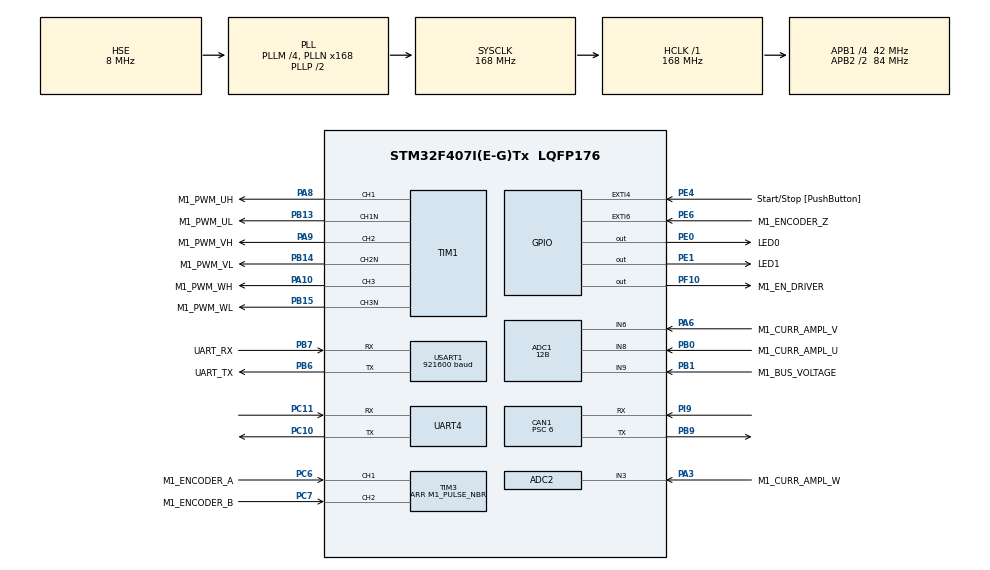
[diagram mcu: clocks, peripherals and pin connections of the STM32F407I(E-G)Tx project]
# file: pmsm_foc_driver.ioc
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ADC1.Channel-1\#ChannelInjectedConversion=ADC_CHANNEL_8
ADC1.Channel-1\#ChannelRegularConversion=ADC_CHANNEL_9
ADC1.Channel-2\#ChannelInjectedConversion=ADC_CHANNEL_6
ADC1.ClockPrescaler=ADC_CLOCK_SYNC_PCLK_DIV4
ADC1.ContinuousConvMode=DISABLE
ADC1.DMAContinuousRequests=DISABLE
ADC1.DataAlign=ADC_DATAALIGN_LEFT
ADC1.DiscontinuousConvMode=DISABLE
ADC1.EOCSelection=ADC_EOC_SINGLE_CONV
ADC1.EnableAnalogWatchDog=false
ADC1.EnableInjectedConversion=ENABLE
ADC1.EnableRegularConversion=ENABLE
ADC1.ExternalTrigConv=ADC_SOFTWARE_START
ADC1.ExternalTrigConvEdge=ADC_EXTERNALTRIGCONVEDGE_NONE
ADC1.ExternalTrigInjecConv=ADC_EXTERNALTRIGINJECCONV_T1_CC4
ADC1.ExternalTrigInjecConvEdge=ADC_EXTERNALTRIGINJECCONVEDGE_RISING
ADC1.InjNumberOfConversion=2
ADC1.InjectedConvMode=Discontinuous
ADC1.InjectedOffset-1\#ChannelInjectedConversion=0
ADC1.InjectedOffset-2\#ChannelInjectedConversion=0
ADC1.InjectedRank-1\#ChannelInjectedConversion=1
ADC1.InjectedRank-2\#ChannelInjectedConversion=2
ADC1.NbrOfConversion=1
ADC1.NbrOfConversionFlag=1
ADC1.Offset-1\#ChannelRegularConversion=0
ADC1.OffsetNumber-1\#ChannelRegularConversion=ADC_OFFSET_NONE
ADC1.Rank-1\#ChannelRegularConversion=1
ADC1.Resolution=ADC_RESOLUTION_12B
ADC1.SamplingTime-1\#ChannelInjectedConversion=ADC_SAMPLETIME_15CYCLES
ADC1.SamplingTime-1\#ChannelRegularConversion=ADC_SAMPLETIME_28CYCLES
ADC1.SamplingTime-2\#ChannelInjectedConversion=ADC_SAMPLETIME_15CYCLES
ADC1.ScanConvMode=ENABLE
ADC1.master=1
ADC2.Channel-1\#ChannelInjectedConversion=ADC_CHANNEL_6
ADC2.Channel-1\#ChannelRegularConversion=ADC_CHANNEL_6
ADC2.Channel-2\#ChannelInjectedConversion=ADC_CHANNEL_3
ADC2.ClockPrescaler=ADC_CLOCK_SYNC_PCLK_DIV4
ADC2.ContinuousConvMode=DISABLE
ADC2.DMAContinuousRequests=DISABLE
ADC2.DataAlign=ADC_DATAALIGN_LEFT
ADC2.DiscontinuousConvMode=DISABLE
ADC2.EOCSelection=ADC_EOC_SINGLE_CONV
ADC2.EnableAnalogWatchDog=false
ADC2.EnableInjectedConversion=ENABLE
ADC2.EnableRegularConversion=ENABLE
ADC2.ExternalTrigConv=ADC_SOFTWARE_START
ADC2.ExternalTrigConvEdge=ADC_EXTERNALTRIGCONVEDGE_NONE
ADC2.ExternalTrigInjecConv=ADC_EXTERNALTRIGINJECCONV_T1_CC4
ADC2.ExternalTrigInjecConvEdge=ADC_EXTERNALTRIGINJECCONVEDGE_RISING
ADC2.InjNumberOfConversion=2
ADC2.InjectedConvMode=Discontinuous
ADC2.InjectedOffset-1\#ChannelInjectedConversion=0
ADC2.InjectedOffset-2\#ChannelInjectedConversion=0
ADC2.InjectedRank-1\#ChannelInjectedConversion=1
ADC2.InjectedRank-2\#ChannelInjectedConversion=2
ADC2.NbrOfConversion=1
ADC2.NbrOfConversionFlag=1
ADC2.Rank-1\#ChannelRegularConversion=1
ADC2.Resolution=ADC_RESOLUTION_12B
ADC2.SamplingTime-1\#ChannelInjectedConversion=ADC_SAMPLETIME_15CYCLES
ADC2.SamplingTime-1\#ChannelRegularConversion=ADC_SAMPLETIME_15CYCLES
ADC2.SamplingTime-2\#ChannelInjectedConversion=ADC_SAMPLETIME_15CYCLES
ADC2.ScanConvMode=ENABLE
CAN1.ABOM=ENABLE
CAN1.BS1=CAN_BS1_7TQ
CAN1.BS2=CAN_BS2_6TQ
CAN1.CalculateBaudRate=500000
CAN1.CalculateTimeBit=2000
CAN1.CalculateTimeQuantum=142.85714285714286
CAN1.Prescaler=6
CAN1.RFLM=ENABLE
CAN1.TXFP=ENABLE
Dma.Request0=USART1_RX
Dma.Request1=USART1_TX
Dma.USART1_RX.0.Direction=DMA_PERIPH_TO_MEMORY
Dma.USART1_RX.0.FIFOMode=DMA_FIFOMODE_DISABLE
Dma.USART1_RX.0.Instance=DMA2_Stream2
Dma.USART1_RX.0.MemDataAlignment=DMA_MDATAALIGN_BYTE
Dma.USART1_RX.0.MemInc=DMA_MINC_ENABLE
Dma.USART1_RX.0.Mode=DMA_NORMAL
Dma.USART1_RX.0.PeriphDataAlignment=DMA_PDATAALIGN_BYTE
Dma.USART1_RX.0.PeriphInc=DMA_PINC_DISABLE
Dma.USART1_RX.0.Priority=DMA_PRIORITY_LOW
Dma.USART1_TX.1.Direction=DMA_MEMORY_TO_PERIPH
Dma.USART1_TX.1.FIFOMode=DMA_FIFOMODE_DISABLE
Dma.USART1_TX.1.Instance=DMA2_Stream7
Dma.USART1_TX.1.MemDataAlignment=DMA_MDATAALIGN_BYTE
Dma.USART1_TX.1.MemInc=DMA_MINC_ENABLE
Dma.USART1_TX.1.Mode=DMA_NORMAL
Dma.USART1_TX.1.PeriphDataAlignment=DMA_PDATAALIGN_BYTE
Dma.USART1_TX.1.PeriphInc=DMA_PINC_DISABLE
Dma.USART1_TX.1.Priority=DMA_PRIORITY_LOW
ExtraMW=MotorControl
ExtraMW.MotorControl.Config=MotorControl
ExtraMW.MotorControl.Mode=MotorControl
ExtraMW.MotorControl.Root=MCSDK_v6.4.2-Full/MotorControl
ExtraMW.MotorControl.Template=templates
Mcu.Family=STM32F4
Mcu.Name=STM32F407I(E-G)Tx
Mcu.Package=LQFP176
MotorControl.ADC_1_PERIPH=ADC1
MotorControl.ADC_2_PERIPH=ADC2
MotorControl.ADC_AHBPERIPH=RCC_AHBPeriph_ADC12
MotorControl.ADC_CLOCK_WB_DIV=1
MotorControl.ADC_PERIPH=ADC1
MotorControl.ADC_REFERENCE_VOLTAGE=3.3
MotorControl.BOARD=DMF407_M1
MotorControl.BUS_VOLTAGE_READING=true
MotorControl.CCMRAM_ENABLED=false
MotorControl.CLOCK_FREQUENCY=CPU_CLK_168_MHZ
MotorControl.CLOCK_SOURCE=EXTERNAL
MotorControl.CPU_CLK_168_MHZ=true
MotorControl.CTLBOARD_NAME=DMF407_M1
MotorControl.CUBE_MX_VER=6.17.0
MotorControl.CURRENT_READING_TOPOLOGY=THREE_SHUNT_INDEPENDENT_RESOURCES
MotorControl.CURR_SAMPLING_TIME=15
MotorControl.DBG_MCU_LOAD_MEASURE=false
MotorControl.DEBUG_DAC_FUNCTIONALITY_EN=false
MotorControl.DRIVES_NUMBER_SELECTION=SINGLEDRIVE
MotorControl.DRIVE_NUMBER=1
MotorControl.DRIVE_TYPE=FOC
MotorControl.ENCODER=true
MotorControl.ENCODER_AVAILABLE=true
MotorControl.ENCODER_PPR=2000
MotorControl.ENC_A_GPIO_PIN=LL_GPIO_PIN_6
MotorControl.ENC_A_GPIO_PORT=GPIOC
MotorControl.ENC_B_GPIO_PIN=LL_GPIO_PIN_7
MotorControl.ENC_B_GPIO_PORT=GPIOC
MotorControl.ENC_ICx_FILTER=126
MotorControl.ENC_INVERT_SPEED=false
MotorControl.ENC_TIMER_SELECTION=ENC_TIM3
MotorControl.ENC_USE_CH3=true
MotorControl.ENC_Z_GPIO_PIN=LL_GPIO_PIN_6
MotorControl.ENC_Z_GPIO_PORT=GPIOE
MotorControl.EN_DRIVER_AVAILABLE=true
MotorControl.EN_DRIVER_GPIO_PIN=LL_GPIO_PIN_10
MotorControl.EN_DRIVER_GPIO_PORT=GPIOF
MotorControl.EN_DRIVER_POLARITY=ACTIVE_HIGH
MotorControl.EXT_CLK_8_MHZ=true
MotorControl.EXT_CLOCK_FREQUENCY=EXT_CLK_8_MHZ
MotorControl.FEEDBACK_NET_FILTERING=false
MotorControl.FLASH_SIZE=1024
MotorControl.HALL_SENSORS_AVAILABLE=true
MotorControl.HIGH_SIDE_IDLE_STATE=false
MotorControl.HWV_CS=ThreeShunt_AmplifiedCurrents
MotorControl.HWV_PWM=DrivingHighAndLowSidesAndMasterEnable
MotorControl.HW_COMPLEMENTED_LOW_SIDE=false
MotorControl.HW_DEAD_TIME_NS=200
MotorControl.IPs=NVIC,RCC,SYS,MotorControl,ADC1,ADC2,TIM1,TIM3,USART1,DMA
MotorControl.LOW_MEMORY_FOOTPRINT_REG=false
MotorControl.LOW_SIDE_IDLE_STATE=false
MotorControl.LOW_SIDE_SIGNALS_ENABLING=LS_PWM_TIMER
MotorControl.M1_ALIGNMENT_ANGLE_DEG=90
MotorControl.M1_ALIGNMENT_DURATION=700
MotorControl.M1_AMPLIFICATION_GAIN=6
MotorControl.M1_ANGC={0,0,0,0,0,0,0,0}
MotorControl.M1_AUXILIARY_SPEED_SENSOR=NONE
MotorControl.M1_BOARD_MAX_CURRENT=4
MotorControl.M1_BUS_VOLTAGE_READING=true
MotorControl.M1_COMMUTATION_STEP_TIME_BUF_SIZE=12
MotorControl.M1_CONSTANT1_D=175690
MotorControl.M1_CONSTANT1_Q=175690
MotorControl.M1_CONSTANT2_QD=9972
MotorControl.M1_CS_ADC_NUM=2
MotorControl.M1_CS_ADC_PHASE_SHARED=V
MotorControl.M1_CS_ADC_U=ADC1
MotorControl.M1_CS_ADC_W=ADC2
MotorControl.M1_CS_CHANNEL_SHARED=6
MotorControl.M1_CS_CHANNEL_U=8
MotorControl.M1_CS_CHANNEL_V=6
MotorControl.M1_CS_CHANNEL_W=3
MotorControl.M1_CURRENT_AMPLIFICATION_TOPO=EXTERNAL
MotorControl.M1_CURRENT_SENSING_TOPO=THREE_SHUNT
MotorControl.M1_CURR_SAMPLING_TIME=15
MotorControl.M1_DBG_OPEN_LOOP_ENABLE=false
MotorControl.M1_DC_CURRENT_RS_MEAS=4
MotorControl.M1_DEFAULT_CONTROL_MODE=STC_SPEED_MODE
MotorControl.M1_DEFAULT_FLUX_COMPONENT=0
MotorControl.M1_DEFAULT_TARGET_SPEED_RPM=3000
MotorControl.M1_DEFAULT_TORQUE_COMPONENT=0
MotorControl.M1_DISCONTINUOUS_PWM=false
MotorControl.M1_DP_TOPOLOGY=NONE
MotorControl.M1_DRIVE_TYPE=FOC
MotorControl.M1_ENCODER_PPR=2000
MotorControl.M1_ENC_AVERAGING_FIFO_DEPTH=16
MotorControl.M1_ENC_A_GPIO_PIN=LL_GPIO_PIN_6
MotorControl.M1_ENC_A_GPIO_PORT=GPIOC
MotorControl.M1_ENC_B_GPIO_PIN=LL_GPIO_PIN_7
MotorControl.M1_ENC_B_GPIO_PORT=GPIOC
MotorControl.M1_ENC_ICx_FILTER=126
MotorControl.M1_ENC_TIMER_IRQ=TIM3
MotorControl.M1_ENC_TIMER_SELECTION=ENC_TIM3
MotorControl.M1_ENC_USE_CH3=true
MotorControl.M1_ENC_Z_GPIO_IRQ=EXTI9_5
MotorControl.M1_ENC_Z_GPIO_PIN=LL_GPIO_PIN_6
MotorControl.M1_ENC_Z_GPIO_PORT=GPIOE
MotorControl.M1_FEED_FORWARD_CURRENT_REG_ENABLING=false
MotorControl.M1_FINAL_I_ALIGNMENT=4
MotorControl.M1_FLUX_WEAKENING_ENABLING=false
MotorControl.M1_FW_KIDIV=32768
MotorControl.M1_FW_KI_GAIN=5000
MotorControl.M1_FW_KPDIV=32768
MotorControl.M1_FW_KP_GAIN=3000
MotorControl.M1_FW_VOLTAGE_REF=985
MotorControl.M1_HALL_PHASE_SHIFT=120
MotorControl.M1_HALL_SENSORS_PLACEMENT=DEGREES_120
MotorControl.M1_HIGH_SIDE_IDLE_STATE=false
MotorControl.M1_HW_DEAD_TIME_NS=200
MotorControl.M1_ICL_ENABLED=false
MotorControl.M1_ID_DEMAG=-4
MotorControl.M1_IQMAX=4
MotorControl.M1_LDLQ_RATIO=1.000
MotorControl.M1_LOW_SIDE_IDLE_STATE=false
MotorControl.M1_LOW_SIDE_SIGNALS_ENABLING=LS_PWM_TIMER
MotorControl.M1_LS=0.00064
MotorControl.M1_MAX_APPLICATION_SPEED=5000
MotorControl.M1_MAX_MODULATION_INDEX=96
MotorControl.M1_MIN_APPLICATION_SPEED=0
MotorControl.M1_MOTOR_MAX_SPEED_RPM=5000
MotorControl.M1_MOTOR_NAME=42JSF840AS-1000-8
MotorControl.M1_MOTOR_RATED_FLUX=0.02510727
MotorControl.M1_MOTOR_VOLTAGE_CONSTANT=2.1
MotorControl.M1_MTPA_ENABLING=false
MotorControl.M1_NOMINAL_BUS_VOLTAGE_V=24
MotorControl.M1_NOMINAL_CURRENT=4
MotorControl.M1_OCP_TOPOLOGY=NONE
MotorControl.M1_OFST={0,0,0,0,0,0,0,0}
MotorControl.M1_ON_OVER_VOLTAGE=TURN_OFF_PWM
MotorControl.M1_OVERMODULATION=false
MotorControl.M1_OVP_THRESHOLD_HIGH=28.8
MotorControl.M1_OV_VOLTAGE_PROT_ENABLING=true
MotorControl.M1_OV_VOLTAGE_THRESHOLD_V=28.8
MotorControl.M1_PID_FLUX_KD_DEFAULT=100
MotorControl.M1_PID_FLUX_KI_DEFAULT=2053
MotorControl.M1_PID_FLUX_KP_DEFAULT=3755
MotorControl.M1_PID_SPEED_KD_DEFAULT=0
MotorControl.M1_PID_SPEED_KI_DEFAULT=3
MotorControl.M1_PID_SPEED_KP_DEFAULT=2613
MotorControl.M1_PID_TORQUE_KD_DEFAULT=100
MotorControl.M1_PID_TORQUE_KI_DEFAULT=2053
MotorControl.M1_PID_TORQUE_KP_DEFAULT=3755
MotorControl.M1_POLE_PAIR_NUM=4
MotorControl.M1_POSITION_CTRL_ENABLING=true
MotorControl.M1_POSITION_CTRL_KDDIV=16
MotorControl.M1_POSITION_CTRL_KD_GAIN=1000
MotorControl.M1_POSITION_CTRL_KIDIV=32768
MotorControl.M1_POSITION_CTRL_KI_GAIN=1000
MotorControl.M1_POSITION_CTRL_KPDIV=1024
MotorControl.M1_POSITION_CTRL_KP_GAIN=10000
MotorControl.M1_POSITION_LOOP_FREQUENCY_HZ=1000
MotorControl.M1_POTENTIOMETER_ENABLE=false
MotorControl.M1_POWERBOARD_NAME=DMF407_M1
MotorControl.M1_PWM_CHARGE_BOOT_CAP_DUTY_CYCLES=0.400
MotorControl.M1_PWM_CHARGE_BOOT_CAP_MS=10
MotorControl.M1_PWM_DRIVER_PN=1.0
MotorControl.M1_PWM_FREQUENCY=16000
MotorControl.M1_PWM_TIMER_BRK_IRQ=TIM1_BRK_TIM9
MotorControl.M1_PWM_TIMER_SELECTION=PWM_TIM1
MotorControl.M1_PWM_TIMER_UP_IRQ=TIM1_UP_TIM10
MotorControl.M1_REGULATION_EXECUTION_RATE=1
MotorControl.M1_RS=0.35
MotorControl.M1_RSHUNT=0.02
MotorControl.M1_SEGDIV=0
MotorControl.M1_SHARED_SIGNAL_ENABLE=false
MotorControl.M1_SPD_DIFFERENTIAL_TERM_ENABLING=false
MotorControl.M1_SPEED_SENSOR=QUAD_ENCODER_Z
MotorControl.M1_SP_KDDIV=16
MotorControl.M1_SP_KIDIV=16384
MotorControl.M1_SP_KPDIV=2048
MotorControl.M1_SS_MEAS_ERRORS_BEFORE_FAULTS=3
MotorControl.M1_SW_DEADTIME_NS=200
MotorControl.M1_TEMPERATURE_READING=false
MotorControl.M1_TF_KDDIV=8192
MotorControl.M1_TF_KIDIV=16384
MotorControl.M1_TF_KPDIV=1024
MotorControl.M1_TNOISE_NS=30
MotorControl.M1_TRISE_NS=2550
MotorControl.M1_UD_VOLTAGE_THRESHOLD_V=10.0
MotorControl.M1_USE_INTERNAL_OPAMP=false
MotorControl.M1_UV_VOLTAGE_PROT_ENABLING=true
MotorControl.M1_VBUS_ADC=ADC1
MotorControl.M1_VBUS_ADC_SAMPLING_TIME=28
MotorControl.M1_VBUS_CHANNEL=ADC_CHANNEL_9
MotorControl.M1_VBUS_PARTITIONING_FACTOR=0.04
MotorControl.MAX_READABLE_CURRENT=13.75
MotorControl.MCPA_OVER_UART_A_STREAM=10
MotorControl.MCP_ASPEP_OVER_UART=true
MotorControl.MCP_ASYNC_EN=true
MotorControl.MCP_ASYNC_OVER_ASPEP_EN=true
MotorControl.MCP_ASYNC_OVER_UART_A_EN=true
MotorControl.MCP_DMACH_RX_UART_A=2
MotorControl.MCP_DMACH_TX_UART_A=7
MotorControl.MCP_DMA_RX_UART_A=DMA2
MotorControl.MCP_DMA_TX_UART_A=DMA2
MotorControl.MCP_EN=true
MotorControl.MCP_IRQ_HANDLER_DMA_RX_UART_A=DMA2_Stream2_IRQHandler
MotorControl.MCP_IRQ_HANDLER_UART_A=USART1_IRQHandler
MotorControl.MCP_OVER_ASPEP_EN=true
MotorControl.MCP_OVER_STLNK_EN=false
MotorControl.MCP_OVER_UART_A_EN=true
MotorControl.MCP_OVER_UART_B_EN=false
MotorControl.MCP_RX_SYNC_PAYLOAD_MAX=128
MotorControl.MCP_TX_ASYNC_PAYLOAD_MAX_UART_A=2048
MotorControl.MCP_TX_SYNC_PAYLOAD_MAX=128
MotorControl.MCU=STM32F407IG
MotorControl.MCU_FAMILY=STM32F4
MotorControl.MCU_LINE=STM32F407/417
MotorControl.MCU_NAME=STM32F407I(E-G)Tx
MotorControl.MCU_PACKAGE=LQFP176
MotorControl.MCU_TYPE=STM32F407IG
MotorControl.MCU_USERNAME=STM32F407IGTx
MotorControl.MC_WORKBENCH_VERSION=6.4.2
MotorControl.MOTOR_PROFILER=false
MotorControl.MOTOR_TYPE=PMSM
MotorControl.ON_OVER_VOLTAGE=TURN_OFF_PWM
MotorControl.OV_VOLTAGE_PROT_ENABLING=true
MotorControl.PHASE_UH_GPIO_PIN=LL_GPIO_PIN_8
MotorControl.PHASE_UH_GPIO_PORT=GPIOA
MotorControl.PHASE_UH_POLARITY=H_ACTIVE_HIGH
MotorControl.PHASE_UL_GPIO_PIN=LL_GPIO_PIN_13
MotorControl.PHASE_UL_GPIO_PORT=GPIOB
MotorControl.PHASE_UL_POLARITY=L_ACTIVE_HIGH
MotorControl.PHASE_U_CURR_ADC=ADC1
MotorControl.PHASE_U_CURR_CHANNEL=ADC_CHANNEL_8
MotorControl.PHASE_U_GPIO_PIN=LL_GPIO_PIN_0
MotorControl.PHASE_U_GPIO_PORT=GPIOB
MotorControl.PHASE_U_PWM_CHANNEL=TIM_Channel_1
MotorControl.PHASE_VH_GPIO_PIN=LL_GPIO_PIN_9
MotorControl.PHASE_VH_GPIO_PORT=GPIOA
MotorControl.PHASE_VH_POLARITY=H_ACTIVE_HIGH
MotorControl.PHASE_VL_GPIO_PIN=LL_GPIO_PIN_14
MotorControl.PHASE_VL_GPIO_PORT=GPIOB
MotorControl.PHASE_VL_POLARITY=L_ACTIVE_HIGH
MotorControl.PHASE_V_CURR_ADC=ADC1
MotorControl.PHASE_V_CURR_CHANNEL=ADC_CHANNEL_6
MotorControl.PHASE_V_GPIO_PIN=LL_GPIO_PIN_6
MotorControl.PHASE_V_GPIO_PORT=GPIOA
MotorControl.PHASE_V_PWM_CHANNEL=TIM_Channel_2
MotorControl.PHASE_V_S_CURR_ADC=ADC2
MotorControl.PHASE_V_S_CURR_CHANNEL=ADC_CHANNEL_6
MotorControl.PHASE_V_S_GPIO_PIN=LL_GPIO_PIN_6
MotorControl.PHASE_V_S_GPIO_PORT=GPIOA
MotorControl.PHASE_WH_GPIO_PIN=LL_GPIO_PIN_10
MotorControl.PHASE_WH_GPIO_PORT=GPIOA
MotorControl.PHASE_WH_POLARITY=H_ACTIVE_HIGH
MotorControl.PHASE_WL_GPIO_PIN=LL_GPIO_PIN_15
MotorControl.PHASE_WL_GPIO_PORT=GPIOB
MotorControl.PHASE_WL_POLARITY=L_ACTIVE_HIGH
MotorControl.PHASE_W_CURR_ADC=ADC2
MotorControl.PHASE_W_CURR_CHANNEL=ADC_CHANNEL_3
MotorControl.PHASE_W_GPIO_PIN=LL_GPIO_PIN_3
MotorControl.PHASE_W_GPIO_PORT=GPIOA
MotorControl.PHASE_W_PWM_CHANNEL=TIM_Channel_3
MotorControl.POTENTIOMETER_READING=false
MotorControl.PWM_FREQUENCY=16000
MotorControl.PWM_TIMER_SELECTION=PWM_TIM1
MotorControl.REGULATION_EXECUTION_RATE=1
MotorControl.RTOS=NONE
MotorControl.R_BRAKE_SWITCH_OFF_THRES_V=23
MotorControl.SINGLEDRIVE=true
MotorControl.SPD_DIFFERENTIAL_TERM_ENABLING=false
MotorControl.SPEED_SENSOR_SELECTION=ENCODER
MotorControl.START_STOP_BTN=true
MotorControl.START_STOP_GPIO_IRQ=EXTI4
MotorControl.START_STOP_GPIO_PIN=LL_GPIO_PIN_4
MotorControl.START_STOP_GPIO_PORT=GPIOE
MotorControl.START_STOP_POLARITY=DIN_ACTIVE_LOW
MotorControl.START_STOP_POLARITY_EDGE=GPIO_PULLUP
MotorControl.STM32F407IG=true
MotorControl.SW_DEADTIME_NS=200
MotorControl.TEMPERATURE_READING=false
MotorControl.TFDIFFERENTIAL_TERM_ENABLING=false
MotorControl.THREE_SHUNT_INDEPENDENT_RESOURCES=true
MotorControl.TRISE_NS=2550
MotorControl.USART_RX_GPIO_PIN=LL_GPIO_PIN_7
MotorControl.USART_RX_GPIO_PORT=GPIOB
MotorControl.USART_SELECTION=USE_USART1
MotorControl.USART_SELECTION_A=USART1
MotorControl.USART_SPEED=921600
MotorControl.USART_TX_GPIO_PIN=LL_GPIO_PIN_6
MotorControl.USART_TX_GPIO_PORT=GPIOB
MotorControl.USE_3OPAMPS=false
MotorControl.USE_INTERNAL_OPAMP=false
MotorControl.UV_VOLTAGE_PROT_ENABLING=true
MotorControl.VBUS_ADC=ADC1
MotorControl.VBUS_ADC_SAMPLING_TIME=28
MotorControl.VBUS_CHANNEL=ADC_CHANNEL_9
MotorControl.VBUS_GPIO_PIN=LL_GPIO_PIN_1
MotorControl.VBUS_GPIO_PORT=GPIOB
MotorControl.WB_MX_HEAPSIZE=0x200
MotorControl.WB_MX_STACKSIZE=0x400
MotorControl.WB_MX_TRUSTZONE_AVAILABLE=false
MotorControl.WB_UI_CUTOFF_FREQUENCY=5000
MotorControl.WB_UI_ENCODER_HAS_INDEX_PIN=true
MotorControl.WB_UI_FLUX_TARGET=0
MotorControl.WB_UI_FRICTION=0.49
MotorControl.WB_UI_INERTIA=4
MotorControl.WB_UI_MAGNETIC_STRUCTURE=SM-PMSM
MotorControl.WB_UI_MAX_CURRENT=4
MotorControl.WB_UI_MAX_NOMINAL_DC_VOLTAGE=24
MotorControl.WB_UI_MAX_PWMFREQUENCY=50000
MotorControl.WB_UI_MOTOR_DESCRIPTION=new motor
MotorControl.WB_UI_PW_BOARD_MAX_RATED_CURRENT=10
MotorControl.WB_UI_PW_BOARD_MAX_VOLTAGE=60
MotorControl.WB_UI_PW_BOARD_MIN_VOLTAGE=10
MotorControl.WB_UI_VPOL=1.25
MotorControl.WB_to_Mx_template_version=25-05-06
MotorControl.WB_to_Mx_version=6.4.2
NVIC.ADC_IRQn=true\:2\:0\:true\:true\:false\:3\:false\:true\:true
NVIC.CAN1_RX0_IRQn=true\:0\:0\:false\:false\:true\:true\:true\:true
NVIC.CAN1_RX1_IRQn=true\:0\:0\:false\:false\:true\:true\:true\:true
NVIC.CAN1_SCE_IRQn=true\:0\:0\:false\:false\:true\:true\:true\:true
NVIC.CAN1_TX_IRQn=true\:0\:0\:false\:false\:true\:true\:true\:true
NVIC.DMA2_Stream2_IRQn=true\:3\:0\:true\:true\:false\:2\:true\:true\:true
NVIC.EXTI4_IRQn=true\:3\:0\:false\:true\:false\:8\:true\:true\:true
NVIC.EXTI9_5_IRQn=true\:3\:0\:false\:true\:false\:7\:true\:true\:true
NVIC.PriorityGroup=NVIC_PRIORITYGROUP_3
NVIC.TIM1_BRK_TIM9_IRQn=true\:4\:1\:false\:true\:false\:5\:true\:true\:true
NVIC.TIM1_UP_TIM10_IRQn=true\:0\:0\:false\:true\:false\:4\:true\:true\:true
NVIC.TIM3_IRQn=true\:3\:0\:false\:true\:false\:6\:true\:true\:true
NVIC.TIM8_TRG_COM_TIM14_IRQn=true\:0\:0\:false\:false\:true\:true\:true\:true
NVIC.USART1_IRQn=true\:3\:1\:true\:true\:false\:1\:true\:true\:true
PA10.GPIO_Label=M1_PWM_WH
PA10.GPIO_PuPd=GPIO_PULLDOWN
PA10.GPIO_Speed=GPIO_SPEED_FREQ_HIGH
PA10.Signal=S_TIM1_CH3
PA13.Mode=Serial_Wire
PA13.Signal=SYS_JTMS-SWDIO
PA14.Mode=Serial_Wire
PA14.Signal=SYS_JTCK-SWCLK
PA3.GPIO_Label=M1_CURR_AMPL_W
PA3.Signal=ADCx_IN3
PA6.GPIO_Label=M1_CURR_AMPL_V
PA6.Signal=SharedAnalog_PA6
PA8.GPIO_Label=M1_PWM_UH
PA8.GPIO_PuPd=GPIO_PULLDOWN
PA8.GPIO_Speed=GPIO_SPEED_FREQ_HIGH
PA8.Signal=S_TIM1_CH1
PA9.GPIO_Label=M1_PWM_VH
PA9.GPIO_PuPd=GPIO_PULLDOWN
PA9.GPIO_Speed=GPIO_SPEED_FREQ_HIGH
PA9.Signal=S_TIM1_CH2
PB0.GPIO_Label=M1_CURR_AMPL_U
PB0.Signal=ADCx_IN8
PB1.GPIO_Label=M1_BUS_VOLTAGE
PB1.Signal=ADCx_IN9
PB13.GPIO_Label=M1_PWM_UL
PB13.GPIO_PuPd=GPIO_PULLDOWN
PB13.GPIO_Speed=GPIO_SPEED_FREQ_HIGH
PB13.Mode=PWM Generation1 CH1 CH1N
PB13.Signal=TIM1_CH1N
PB14.GPIO_Label=M1_PWM_VL
PB14.GPIO_PuPd=GPIO_PULLDOWN
PB14.GPIO_Speed=GPIO_SPEED_FREQ_HIGH
PB14.Mode=PWM Generation2 CH2 CH2N
PB14.Signal=TIM1_CH2N
PB15.GPIO_Label=M1_PWM_WL
PB15.GPIO_PuPd=GPIO_PULLDOWN
PB15.GPIO_Speed=GPIO_SPEED_FREQ_HIGH
PB15.Mode=PWM Generation3 CH3 CH3N
PB15.Signal=TIM1_CH3N
PB6.GPIO_Label=UART_TX
PB6.GPIO_Mode=GPIO_MODE_AF_PP
PB6.GPIO_PuPd=GPIO_NOPULL
PB6.GPIO_Speed=GPIO_SPEED_FREQ_LOW
PB6.Mode=Asynchronous
PB6.Signal=USART1_TX
PB7.GPIO_Label=UART_RX
PB7.GPIO_Mode=GPIO_MODE_AF_PP
PB7.GPIO_PuPd=GPIO_NOPULL
PB7.GPIO_Speed=GPIO_SPEED_FREQ_LOW
PB7.Mode=Asynchronous
PB7.Signal=USART1_RX
PB9.Mode=CAN_Activate
PB9.Signal=CAN1_TX
PC10.Mode=Asynchronous
PC10.Signal=UART4_TX
PC11.Mode=Asynchronous
PC11.Signal=UART4_RX
PC14-OSC32_IN.Mode=LSE-External-Oscillator
PC14-OSC32_IN.Signal=RCC_OSC32_IN
PC15-OSC32_OUT.Mode=LSE-External-Oscillator
PC15-OSC32_OUT.Signal=RCC_OSC32_OUT
PC6.GPIO_Label=M1_ENCODER_A
PC6.Signal=S_TIM3_CH1
PC7.GPIO_Label=M1_ENCODER_B
PC7.Signal=S_TIM3_CH2
PE0.GPIO_Label=LED0
PE0.Signal=GPIO_Output
PE1.GPIO_Label=LED1
PE1.Signal=GPIO_Output
PE4.GPIO_Label=Start/Stop [PushButton]
PE4.GPIO_ModeDefaultEXTI=GPIO_MODE_IT_FALLING
PE4.GPIO_PuPd=GPIO_PULLUP
PE4.Signal=GPXTI4
PE6.GPIO_Label=M1_ENCODER_Z
PE6.GPIO_ModeDefaultEXTI=GPIO_MODE_IT_RISING
PE6.Signal=GPXTI6
PF10.GPIO_Label=M1_EN_DRIVER
PF10.GPIO_PuPd=GPIO_PULLUP
PF10.PinState=GPIO_PIN_SET
PF10.Signal=GPIO_Output
PH0-OSC_IN.Mode=HSE-External-Oscillator
PH0-OSC_IN.Signal=RCC_OSC_IN
PH1-OSC_OUT.Mode=HSE-External-Oscillator
PH1-OSC_OUT.Signal=RCC_OSC_OUT
PI9.Mode=CAN_Activate
PI9.Signal=CAN1_RX
ProjectManager.HeapSize=0x4000
ProjectManager.StackSize=0x1000
ProjectManager.TargetToolchain=MDK-ARM V5
RCC.48MHZClocksFreq_Value=84000000
RCC.AHBFreq_Value=168000000
RCC.APB1CLKDivider=RCC_HCLK_DIV4
RCC.APB1Freq_Value=42000000
RCC.APB1TimFreq_Value=84000000
RCC.APB2CLKDivider=RCC_HCLK_DIV2
RCC.APB2Freq_Value=84000000
RCC.APB2TimFreq_Value=168000000
RCC.CortexFreq_Value=168000000
RCC.EnbaleCSS=true
RCC.HCLKFreq_Value=168000000
RCC.HSE_VALUE=8000000
RCC.HSI_VALUE=16000000
RCC.PLLM=4
RCC.PLLN=168
RCC.PLLSourceVirtual=RCC_PLLSOURCE_HSE
RCC.PREFETCH_ENABLE=1
RCC.SYSCLKFreq_VALUE=168000000
RCC.SYSCLKSource=RCC_SYSCLKSOURCE_PLLCLK
RCC.VCOOutputFreq_Value=336000000
SH.ADCx_IN3.0=ADC2_IN3,IN3
SH.ADCx_IN8.0=ADC1_IN8,IN8
SH.ADCx_IN9.0=ADC1_IN9,IN9
SH.S_TIM1_CH1.0=TIM1_CH1,PWM Generation1 CH1 CH1N
SH.S_TIM1_CH2.0=TIM1_CH2,PWM Generation2 CH2 CH2N
SH.S_TIM1_CH3.0=TIM1_CH3,PWM Generation3 CH3 CH3N
SH.S_TIM3_CH1.0=TIM3_CH1,Encoder_Interface
SH.S_TIM3_CH2.0=TIM3_CH2,Encoder_Interface
SH.SharedAnalog_PA6.0=ADC1_IN6,IN6
SH.SharedAnalog_PA6.1=ADC2_IN6,IN6
TIM1.AutoReloadPreload=TIM_AUTORELOAD_PRELOAD_DISABLE
TIM1.AutomaticOutput=TIM_AUTOMATICOUTPUT_DISABLE
TIM1.BreakPolarity=TIM_BREAKPOLARITY_LOW
TIM1.BreakState=TIM_BREAK_DISABLE
TIM1.Channel-PWM\ Generation1\ CH1\ CH1N=TIM_CHANNEL_1
TIM1.Channel-PWM\ Generation2\ CH2\ CH2N=TIM_CHANNEL_2
TIM1.Channel-PWM\ Generation3\ CH3\ CH3N=TIM_CHANNEL_3
TIM1.Channel-PWM\ Generation4\ No\ Output=TIM_CHANNEL_4
TIM1.ClearInputSource=TIM_CLEARINPUTSOURCE_NONE
TIM1.ClockDivision=TIM_CLOCKDIVISION_DIV2
TIM1.CounterMode=TIM_COUNTERMODE_CENTERALIGNED1
TIM1.DeadTime=((DEAD_TIME_COUNTS) / 2)
TIM1.LockLevel=TIM_LOCKLEVEL_OFF
TIM1.OC1Preload_PWM=ENABLE
TIM1.OC2Preload_PWM=ENABLE
TIM1.OC3Preload_PWM=ENABLE
TIM1.OC4Preload_PWM=ENABLE
TIM1.OCIdleState_1=TIM_OCIDLESTATE_RESET
TIM1.OCIdleState_2=TIM_OCIDLESTATE_RESET
TIM1.OCIdleState_3=TIM_OCIDLESTATE_RESET
TIM1.OCIdleState_4=TIM_OCIDLESTATE_RESET
TIM1.OCMode_PWM-PWM\ Generation1\ CH1\ CH1N=TIM_OCMODE_PWM1
TIM1.OCMode_PWM-PWM\ Generation2\ CH2\ CH2N=TIM_OCMODE_PWM1
TIM1.OCMode_PWM-PWM\ Generation3\ CH3\ CH3N=TIM_OCMODE_PWM1
TIM1.OCMode_PWM-PWM\ Generation4\ No\ Output=TIM_OCMODE_PWM2
TIM1.OCNIdleState_1=TIM_OCNIDLESTATE_RESET
TIM1.OCNIdleState_2=TIM_OCNIDLESTATE_RESET
TIM1.OCNIdleState_3=TIM_OCNIDLESTATE_RESET
TIM1.OCNPolarity_1=TIM_OCNPOLARITY_HIGH
TIM1.OCNPolarity_2=TIM_OCNPOLARITY_HIGH
TIM1.OCNPolarity_3=TIM_OCNPOLARITY_HIGH
TIM1.OCPolarity_1=TIM_OCPOLARITY_HIGH
TIM1.OCPolarity_2=TIM_OCPOLARITY_HIGH
TIM1.OCPolarity_3=TIM_OCPOLARITY_HIGH
TIM1.OCPolarity_4=TIM_OCPOLARITY_HIGH
TIM1.OffStateIDLEMode=TIM_OSSI_ENABLE
TIM1.OffStateRunMode=TIM_OSSR_ENABLE
TIM1.Period=((PWM_PERIOD_CYCLES) / 2)
TIM1.Prescaler=((TIM_CLOCK_DIVIDER) - 1)
TIM1.Pulse-PWM\ Generation1\ CH1\ CH1N=((PWM_PERIOD_CYCLES) / 4)
TIM1.Pulse-PWM\ Generation2\ CH2\ CH2N=((PWM_PERIOD_CYCLES) / 4)
TIM1.Pulse-PWM\ Generation3\ CH3\ CH3N=((PWM_PERIOD_CYCLES) / 4)
TIM1.Pulse-PWM\ Generation4\ No\ Output=(((PWM_PERIOD_CYCLES) / 2) - (HTMIN))
TIM1.RepetitionCounter=(REP_COUNTER)
TIM1.TIM_MasterOutputTrigger=TIM_TRGO_RESET
TIM1.TIM_MasterSlaveMode=TIM_MASTERSLAVEMODE_DISABLE
TIM14.Period=1000-1
TIM14.Prescaler=84-1
TIM3.EncoderMode=TIM_ENCODERMODE_TI12
TIM3.IC1Filter=M1_ENC_IC_FILTER
TIM3.IC1Polarity=TIM_ICPOLARITY_RISING
TIM3.IC2Filter=M1_ENC_IC_FILTER
TIM3.IC2Polarity=TIM_ICPOLARITY_RISING
TIM3.Period=M1_PULSE_NBR
UART4.VirtualMode=Asynchronous
USART1.BaudRate=921600
USART1.VirtualMode=VM_ASYNC
USART1.VirtualMode-Asynchronous=VM_ASYNC
USART1.WordLength=WORDLENGTH_8B
VP_MotorControl_MC_ENABLED.Mode=Enabled
VP_TIM14_VS_ClockSourceINT.Mode=Enable_Timer
VP_TIM1_VS_no_output4.Mode=PWM Generation4 No Output
board=custom

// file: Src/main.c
/* USER CODE BEGIN Header */
/**
 ******************************************************************************
 * @file           : main.c
 * @brief          : Main program body
 ******************************************************************************
 * @attention
 *
 * Copyright (c) 2026 STMicroelectronics.
 * All rights reserved.
 *
 * This software is licensed under terms that can be found in the LICENSE file
 * in the root directory of this software component.
 * If no LICENSE file comes with this software, it is provided AS-IS.
 *
 ******************************************************************************
 */
/* USER CODE END Header */
#include "main.h"
#include "adc.h"
#include "can.h"
#include "dma.h"
#include "tim.h"
#include "usart.h"
#include "gpio.h"

/* USER CODE BEGIN Includes */
#include "mc_config.h"
#include "bsp_can.h"
#include "CO_app_STM32.h"
#include "trajectory_ctrl.h"
/* USER CODE END Includes */

/* USER CODE BEGIN PV */
CANopenNodeSTM32 canOpenNodeSTM32;
/* USER CODE END PV */

void SystemClock_Config(void);
static void MX_NVIC_Init(void);
/* USER CODE BEGIN PFP */
#define PI 3.14159265359f
int16_t speed;
/* USER CODE END PFP */

int main(void)
{

  /* MCU Configuration--------------------------------------------------------*/

  /* Reset of all peripherals, Initializes the Flash interface and the Systick. */
  HAL_Init();

  /* Configure the system clock */
  SystemClock_Config();

  /* USER CODE BEGIN SysInit */
  HAL_Delay(3000);
  /* USER CODE END SysInit */

  /* Initialize all configured peripherals */
  MX_GPIO_Init();
  MX_DMA_Init();
  MX_ADC1_Init();
  MX_ADC2_Init();
  MX_TIM1_Init();
  MX_TIM3_Init();
  MX_USART1_UART_Init();
  MX_MotorControl_Init();
  MX_CAN1_Init();
  MX_TIM14_Init();
  MX_UART4_Init();

  /* Initialize interrupts */
  MX_NVIC_Init();
  /* USER CODE BEGIN 2 */

  /* CANopen initialization */
  canOpenNodeSTM32.CANHandle = &hcan1;
  canOpenNodeSTM32.HWInitFunction = MX_CAN1_Init;
  canOpenNodeSTM32.timerHandle = &htim14;
  canOpenNodeSTM32.desiredNodeID = 0x01; /* Node ID = 1 */
  canOpenNodeSTM32.baudrate = 500;       /* 500Kbps */
  canopen_app_init(&canOpenNodeSTM32);
  /* USER CODE END 2 */

  /* Infinite loop */
  /* USER CODE BEGIN WHILE */
  while (1)
  {
    canopen_app_process();

    /* USER CODE END WHILE */

  }
}

void SystemClock_Config(void)
{
  RCC_OscInitTypeDef RCC_OscInitStruct = {0};
  RCC_ClkInitTypeDef RCC_ClkInitStruct = {0};

  /** Configure the main internal regulator output voltage
   */
  __HAL_RCC_PWR_CLK_ENABLE();
  __HAL_PWR_VOLTAGESCALING_CONFIG(PWR_REGULATOR_VOLTAGE_SCALE1);

  /** Initializes the RCC Oscillators according to the specified parameters
   * in the RCC_OscInitTypeDef structure.
   */
  RCC_OscInitStruct.OscillatorType = RCC_OSCILLATORTYPE_HSE;
  RCC_OscInitStruct.HSEState = RCC_HSE_ON;
  RCC_OscInitStruct.PLL.PLLState = RCC_PLL_ON;
  RCC_OscInitStruct.PLL.PLLSource = RCC_PLLSOURCE_HSE;
  RCC_OscInitStruct.PLL.PLLM = 4;
  RCC_OscInitStruct.PLL.PLLN = 168;
  RCC_OscInitStruct.PLL.PLLP = RCC_PLLP_DIV2;
  RCC_OscInitStruct.PLL.PLLQ = 4;
  if (HAL_RCC_OscConfig(&RCC_OscInitStruct) != HAL_OK)
  {
    Error_Handler();
  }

  /** Initializes the CPU, AHB and APB buses clocks
   */
  RCC_ClkInitStruct.ClockType = RCC_CLOCKTYPE_HCLK | RCC_CLOCKTYPE_SYSCLK | RCC_CLOCKTYPE_PCLK1 | RCC_CLOCKTYPE_PCLK2;
  RCC_ClkInitStruct.SYSCLKSource = RCC_SYSCLKSOURCE_PLLCLK;
  RCC_ClkInitStruct.AHBCLKDivider = RCC_SYSCLK_DIV1;
  RCC_ClkInitStruct.APB1CLKDivider = RCC_HCLK_DIV4;
  RCC_ClkInitStruct.APB2CLKDivider = RCC_HCLK_DIV2;

  if (HAL_RCC_ClockConfig(&RCC_ClkInitStruct, FLASH_LATENCY_5) != HAL_OK)
  {
    Error_Handler();
  }

  /** Enables the Clock Security System
   */
  HAL_RCC_EnableCSS();
}

/**
 * @brief NVIC Configuration.
 * @retval None
 */
static void MX_NVIC_Init(void)
{
  /* USART1_IRQn interrupt configuration */
  HAL_NVIC_SetPriority(USART1_IRQn, 3, 1);
  HAL_NVIC_EnableIRQ(USART1_IRQn);
  /* DMA2_Stream2_IRQn interrupt configuration */
  HAL_NVIC_SetPriority(DMA2_Stream2_IRQn, 3, 0);
  HAL_NVIC_EnableIRQ(DMA2_Stream2_IRQn);
  /* ADC_IRQn interrupt configuration */
  HAL_NVIC_SetPriority(ADC_IRQn, 2, 0);
  HAL_NVIC_EnableIRQ(ADC_IRQn);
  /* TIM1_UP_TIM10_IRQn interrupt configuration */
  HAL_NVIC_SetPriority(TIM1_UP_TIM10_IRQn, 0, 0);
  HAL_NVIC_EnableIRQ(TIM1_UP_TIM10_IRQn);
  /* TIM1_BRK_TIM9_IRQn interrupt configuration */
  HAL_NVIC_SetPriority(TIM1_BRK_TIM9_IRQn, 4, 1);
  HAL_NVIC_EnableIRQ(TIM1_BRK_TIM9_IRQn);
  /* TIM3_IRQn interrupt configuration */
  HAL_NVIC_SetPriority(TIM3_IRQn, 3, 0);
  HAL_NVIC_EnableIRQ(TIM3_IRQn);
  /* EXTI9_5_IRQn interrupt configuration */
  HAL_NVIC_SetPriority(EXTI9_5_IRQn, 3, 0);
  HAL_NVIC_EnableIRQ(EXTI9_5_IRQn);
  /* EXTI4_IRQn interrupt configuration */
  HAL_NVIC_SetPriority(EXTI4_IRQn, 3, 0);
  HAL_NVIC_EnableIRQ(EXTI4_IRQn);
}

/* USER CODE BEGIN 4 */
void HAL_TIM_PeriodElapsedCallback(TIM_HandleTypeDef *htim)
{
  if (htim == canOpenNodeSTM32.timerHandle)
  {
    canopen_app_interrupt();
  }
}
/* USER CODE END 4 */

void Error_Handler(void)
{
  __disable_irq();
  while (1)
  {
  }
}
